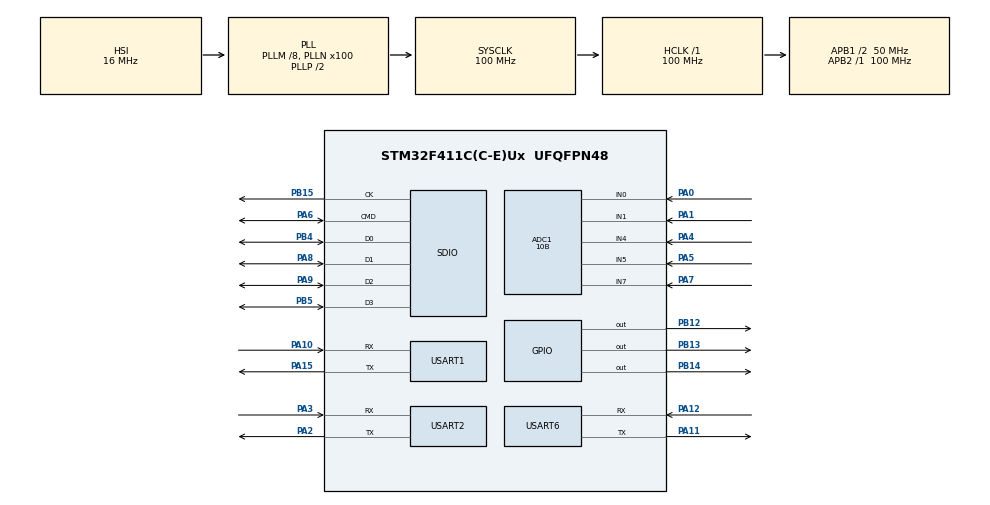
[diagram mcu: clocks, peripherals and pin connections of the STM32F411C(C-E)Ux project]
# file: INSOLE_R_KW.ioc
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ADC1.Channel-10\#ChannelRegularConversion=ADC_CHANNEL_1
ADC1.Channel-12\#ChannelRegularConversion=ADC_CHANNEL_4
ADC1.Channel-13\#ChannelRegularConversion=ADC_CHANNEL_5
ADC1.Channel-14\#ChannelRegularConversion=ADC_CHANNEL_7
ADC1.Channel-5\#ChannelRegularConversion=ADC_CHANNEL_0
ADC1.ContinuousConvMode=ENABLE
ADC1.DMAContinuousRequests=ENABLE
ADC1.InjNumberOfConversion=0
ADC1.NbrOfConversion=5
ADC1.NbrOfConversionFlag=1
ADC1.Rank-10\#ChannelRegularConversion=2
ADC1.Rank-12\#ChannelRegularConversion=3
ADC1.Rank-13\#ChannelRegularConversion=4
ADC1.Rank-14\#ChannelRegularConversion=5
ADC1.Rank-5\#ChannelRegularConversion=1
ADC1.Resolution=ADC_RESOLUTION_10B
ADC1.SamplingTime-10\#ChannelRegularConversion=ADC_SAMPLETIME_112CYCLES
ADC1.SamplingTime-12\#ChannelRegularConversion=ADC_SAMPLETIME_112CYCLES
ADC1.SamplingTime-13\#ChannelRegularConversion=ADC_SAMPLETIME_112CYCLES
ADC1.SamplingTime-14\#ChannelRegularConversion=ADC_SAMPLETIME_112CYCLES
ADC1.SamplingTime-5\#ChannelRegularConversion=ADC_SAMPLETIME_112CYCLES
ADC1.master=1
Dma.ADC1.0.Direction=DMA_PERIPH_TO_MEMORY
Dma.ADC1.0.FIFOMode=DMA_FIFOMODE_DISABLE
Dma.ADC1.0.Instance=DMA2_Stream0
Dma.ADC1.0.MemDataAlignment=DMA_MDATAALIGN_HALFWORD
Dma.ADC1.0.MemInc=DMA_MINC_ENABLE
Dma.ADC1.0.Mode=DMA_CIRCULAR
Dma.ADC1.0.PeriphDataAlignment=DMA_PDATAALIGN_HALFWORD
Dma.ADC1.0.PeriphInc=DMA_PINC_DISABLE
Dma.ADC1.0.Priority=DMA_PRIORITY_LOW
Dma.Request0=ADC1
Dma.Request1=SDIO_RX
Dma.Request2=SDIO_TX
Dma.Request3=USART2_RX
Dma.Request4=USART1_TX
Dma.SDIO_RX.1.Direction=DMA_PERIPH_TO_MEMORY
Dma.SDIO_RX.1.FIFOMode=DMA_FIFOMODE_ENABLE
Dma.SDIO_RX.1.FIFOThreshold=DMA_FIFO_THRESHOLD_FULL
Dma.SDIO_RX.1.Instance=DMA2_Stream3
Dma.SDIO_RX.1.MemBurst=DMA_MBURST_INC4
Dma.SDIO_RX.1.MemDataAlignment=DMA_MDATAALIGN_WORD
Dma.SDIO_RX.1.MemInc=DMA_MINC_ENABLE
Dma.SDIO_RX.1.Mode=DMA_PFCTRL
Dma.SDIO_RX.1.PeriphBurst=DMA_PBURST_INC4
Dma.SDIO_RX.1.PeriphDataAlignment=DMA_PDATAALIGN_WORD
Dma.SDIO_RX.1.PeriphInc=DMA_PINC_DISABLE
Dma.SDIO_RX.1.Priority=DMA_PRIORITY_LOW
Dma.SDIO_TX.2.Direction=DMA_MEMORY_TO_PERIPH
Dma.SDIO_TX.2.FIFOMode=DMA_FIFOMODE_ENABLE
Dma.SDIO_TX.2.FIFOThreshold=DMA_FIFO_THRESHOLD_FULL
Dma.SDIO_TX.2.Instance=DMA2_Stream6
Dma.SDIO_TX.2.MemBurst=DMA_MBURST_INC4
Dma.SDIO_TX.2.MemDataAlignment=DMA_MDATAALIGN_WORD
Dma.SDIO_TX.2.MemInc=DMA_MINC_ENABLE
Dma.SDIO_TX.2.Mode=DMA_PFCTRL
Dma.SDIO_TX.2.PeriphBurst=DMA_PBURST_INC4
Dma.SDIO_TX.2.PeriphDataAlignment=DMA_PDATAALIGN_WORD
Dma.SDIO_TX.2.PeriphInc=DMA_PINC_DISABLE
Dma.SDIO_TX.2.Priority=DMA_PRIORITY_LOW
Dma.USART1_TX.4.Direction=DMA_MEMORY_TO_PERIPH
Dma.USART1_TX.4.FIFOMode=DMA_FIFOMODE_DISABLE
Dma.USART1_TX.4.Instance=DMA2_Stream7
Dma.USART1_TX.4.MemDataAlignment=DMA_MDATAALIGN_BYTE
Dma.USART1_TX.4.MemInc=DMA_MINC_ENABLE
Dma.USART1_TX.4.Mode=DMA_CIRCULAR
Dma.USART1_TX.4.PeriphDataAlignment=DMA_PDATAALIGN_BYTE
Dma.USART1_TX.4.PeriphInc=DMA_PINC_DISABLE
Dma.USART1_TX.4.Priority=DMA_PRIORITY_LOW
Dma.USART2_RX.3.Direction=DMA_PERIPH_TO_MEMORY
Dma.USART2_RX.3.FIFOMode=DMA_FIFOMODE_DISABLE
Dma.USART2_RX.3.Instance=DMA1_Stream5
Dma.USART2_RX.3.MemDataAlignment=DMA_MDATAALIGN_BYTE
Dma.USART2_RX.3.MemInc=DMA_MINC_ENABLE
Dma.USART2_RX.3.Mode=DMA_CIRCULAR
Dma.USART2_RX.3.PeriphDataAlignment=DMA_PDATAALIGN_BYTE
Dma.USART2_RX.3.PeriphInc=DMA_PINC_DISABLE
Dma.USART2_RX.3.Priority=DMA_PRIORITY_LOW
FATFS._MAX_SS=4096
FREERTOS.Tasks01=defaultTask,0,128,StartDefaultTask,Default,NULL
FREERTOS.configTICK_RATE_HZ=1000
Mcu.Family=STM32F4
Mcu.Name=STM32F411C(C-E)Ux
Mcu.Package=UFQFPN48
NVIC.DMA1_Stream5_IRQn=true\:5\:0\:false\:false\:true\:true\:false\:true
NVIC.DMA2_Stream0_IRQn=true\:5\:0\:false\:false\:true\:true\:false\:true
NVIC.DMA2_Stream3_IRQn=true\:5\:0\:false\:false\:true\:true\:false\:true
NVIC.DMA2_Stream6_IRQn=true\:5\:0\:false\:false\:true\:true\:false\:true
NVIC.DMA2_Stream7_IRQn=true\:5\:0\:false\:false\:true\:true\:false\:true
NVIC.PriorityGroup=NVIC_PRIORITYGROUP_4
NVIC.SDIO_IRQn=true\:5\:0\:false\:false\:true\:true\:true\:true
NVIC.TIM4_IRQn=true\:5\:0\:false\:false\:true\:true\:true\:true
NVIC.TIM5_IRQn=true\:0\:0\:false\:false\:true\:false\:false\:true
NVIC.TimeBase=TIM5_IRQn
NVIC.TimeBaseIP=TIM5
NVIC.USART1_IRQn=true\:5\:0\:false\:false\:true\:true\:true\:true
PA0-WKUP.Signal=ADCx_IN0
PA1.Signal=ADCx_IN1
PA10.Mode=Asynchronous
PA10.Signal=USART1_RX
PA11.Mode=Asynchronous
PA11.Signal=USART6_TX
PA12.Mode=Asynchronous
PA12.Signal=USART6_RX
PA15.Mode=Asynchronous
PA15.Signal=USART1_TX
PA2.Mode=Asynchronous
PA2.Signal=USART2_TX
PA3.Mode=Asynchronous
PA3.Signal=USART2_RX
PA4.Signal=ADCx_IN4
PA5.Signal=ADCx_IN5
PA6.GPIO_PuPd=GPIO_PULLUP
PA6.Mode=SD_4_bits_Wide_bus
PA6.Signal=SDIO_CMD
PA7.Signal=ADCx_IN7
PA8.GPIO_PuPd=GPIO_PULLUP
PA8.Mode=SD_4_bits_Wide_bus
PA8.Signal=SDIO_D1
PA9.GPIO_PuPd=GPIO_PULLUP
PA9.Mode=SD_4_bits_Wide_bus
PA9.Signal=SDIO_D2
PB12.Signal=GPIO_Output
PB13.Signal=GPIO_Output
PB14.Signal=GPIO_Output
PB15.Mode=SD_4_bits_Wide_bus
PB15.Signal=SDIO_CK
PB4.GPIO_PuPd=GPIO_PULLUP
PB4.Mode=SD_4_bits_Wide_bus
PB4.Signal=SDIO_D0
PB5.GPIO_PuPd=GPIO_PULLUP
PB5.Mode=SD_4_bits_Wide_bus
PB5.Signal=SDIO_D3
ProjectManager.HeapSize=0x200
ProjectManager.StackSize=0x400
ProjectManager.TargetToolchain=MDK-ARM V5
RCC.48MHZClocksFreq_Value=40000000
RCC.AHBFreq_Value=100000000
RCC.APB1CLKDivider=RCC_HCLK_DIV2
RCC.APB1Freq_Value=50000000
RCC.APB1TimFreq_Value=100000000
RCC.APB2Freq_Value=100000000
RCC.APB2TimFreq_Value=100000000
RCC.CortexFreq_Value=100000000
RCC.HCLKFreq_Value=100000000
RCC.HSE_VALUE=8000000
RCC.HSI_VALUE=16000000
RCC.LSE_VALUE=32768
RCC.PLLM=8
RCC.PLLN=100
RCC.PLLQ=5
RCC.SYSCLKFreq_VALUE=100000000
RCC.SYSCLKSource=RCC_SYSCLKSOURCE_PLLCLK
RCC.VCOOutputFreq_Value=200000000
SDIO.ClockDiv=3
SH.ADCx_IN0.0=ADC1_IN0,IN0
SH.ADCx_IN1.0=ADC1_IN1,IN1
SH.ADCx_IN4.0=ADC1_IN4,IN4
SH.ADCx_IN5.0=ADC1_IN5,IN5
SH.ADCx_IN7.0=ADC1_IN7,IN7
TIM4.Period=100-1
TIM4.Prescaler=1000-1
TIM4.TIM_MasterOutputTrigger=TIM_TRGO_UPDATE
USART1.VirtualMode=VM_ASYNC
USART2.VirtualMode=VM_ASYNC
USART6.VirtualMode=VM_ASYNC
VP_CRC_VS_CRC.Mode=CRC_Activate
VP_FATFS_VS_SDIO.Mode=SDIO
VP_FREERTOS_VS_CMSIS_V1.Mode=CMSIS_V1
VP_SYS_VS_tim5.Mode=TIM5
VP_TIM4_VS_ClockSourceINT.Mode=Internal
board=custom

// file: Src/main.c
/* USER CODE BEGIN Header */
/*Definition in INSOLE_R_KR
DATASET :
INSOLE_L : 10BYTE(FSR) + 4BYTE(ST/ED) + 2BYTE(CRC) = 16BYTE
INSOLE_R : 20BYTE(FSR) + 4BYTE(ST/ED) + 2BYTE(CRC)= 26BYTE
IMU 		 : 20BYTE(FSR) + 18BYTE(IMU) + 4BYTE(ST/ED) + 2BYTE(CRC) = 44BYTE

*/

/**
  ******************************************************************************
  * @file           : main.c
  * @brief          : Main program body
  ******************************************************************************
  * @attention
  *
  * <h2><center>&copy; Copyright (c) 2020 STMicroelectronics.
  * All rights reserved.</center></h2>
  *
  * This software component is licensed by ST under Ultimate Liberty license
  * SLA0044, the "License"; You may not use this file except in compliance with
  * the License. You may obtain a copy of the License at:
  *                             www.st.com/SLA0044
  *
  ******************************************************************************
  */
/* USER CODE END Header */

#include "main.h"
#include "cmsis_os.h"
#include "fatfs.h"

/* USER CODE BEGIN Includes */
#include <stdio.h>
#include <string.h>
#include <stdbool.h>
/* USER CODE END Includes */

ADC_HandleTypeDef hadc1;
DMA_HandleTypeDef hdma_adc1;

CRC_HandleTypeDef hcrc;

SD_HandleTypeDef hsd;
DMA_HandleTypeDef hdma_sdio_rx;
DMA_HandleTypeDef hdma_sdio_tx;

TIM_HandleTypeDef htim4;

UART_HandleTypeDef huart1;
UART_HandleTypeDef huart2;
UART_HandleTypeDef huart6;
DMA_HandleTypeDef hdma_usart1_tx;
DMA_HandleTypeDef hdma_usart2_rx;

osThreadId defaultTaskHandle;

void SystemClock_Config(void);
static void MX_GPIO_Init(void);
static void MX_DMA_Init(void);
static void MX_ADC1_Init(void);
static void MX_USART1_UART_Init(void);
static void MX_USART2_UART_Init(void);
static void MX_CRC_Init(void);
static void MX_SDIO_SD_Init(void);
static void MX_TIM4_Init(void);
static void MX_USART6_UART_Init(void);
void StartDefaultTask(void const * argument);

/* USER CODE BEGIN 0 */
	//dma circular buffer
	DMA_Event_t dma_uart_rx = {0,0,DMA_BUF_SIZE};
	uint8_t dma_rx_buf[DMA_BUF_SIZE];       /* Circular buffer for DMA */
	uint8_t data[DMA_BUF_SIZE] = {'\0'};    /* Data buffer that contains newly received data */

	//Communication buffers
	uint8_t txdata[26]; // 4 from FFFF,FFFE 18 from Imu, 10 byte from insole 2byte crc : 34 byte
	uint8_t rxBuf[16] = {0};

	uint8_t rxBuf2[24] = {0};

	uint8_t rxBuf_[24] = {0};
	uint8_t rxBuf_crc[24] = {0};
	uint8_t cp_rxBuf_[24] = {0,};	\

	bool useBuff = false;
	bool useBuff_mx = true;

	uint8_t buff_index = 0;
	uint8_t rxBuf_transmit[24] = {0};
	uint16_t adcValArray[5] = {0,};
	//crcval
	uint32_t crcArray[8] = {0,};
	uint32_t crcArray_send[9] = {0,};

	uint16_t crcval = 0;

	//test
	uint16_t cal_val = 0;
	uint16_t receive_val =0;

	//buff calcualtion
	//uint8_t rxBuf_crc[24] = {0};
	bool crc_test = true;
	bool crc_test2 = false;

	bool rxBuf_trans = true;

	//SD card variables
	extern char SDPath[4];   /* SD logical drive path */
	extern FATFS SDFatFS;    /* File system object for SD logical drive */
	extern FIL SDFile;       /* File object for SD */

	//FILE I/O operation

	FRESULT res;                                          /* FatFs function common result code */
	uint32_t byteswritten, bytesread;                     /* File write/read counts */
	uint8_t wtext[] = "Hello from kyeum!"; 			      /* File write start buffer */
	uint8_t rtext[100];                                   /* File read buffer */

	FATFS myFATAS;
	FIL myFILE;
	UINT testByte; 										  // error detection
	bool datasave_flg = true;

	//Timer
	bool _10ms_flg = false;
	bool _100ms_flg = false;

	uint16_t ms_tmr = 0;
	uint16_t _100ms_tmr = 0;
	uint16_t ms_sv_tmr = 0;

	//wdg cnt
	uint8_t wdg_cnt = 0;

/* USER CODE END 0 */

int main(void)
{

  /* MCU Configuration--------------------------------------------------------*/

  /* Reset of all peripherals, Initializes the Flash interface and the Systick. */
  HAL_Init();

  /* Configure the system clock */
  SystemClock_Config();

  /* Initialize all configured peripherals */
  MX_GPIO_Init();
  MX_DMA_Init();
  MX_ADC1_Init();
  MX_USART1_UART_Init();
  MX_USART2_UART_Init();
  MX_CRC_Init();
  MX_SDIO_SD_Init();
  MX_TIM4_Init();
  MX_USART6_UART_Init();
  /* USER CODE BEGIN 2 */

  /* Start DMA */
//    if(HAL_UART_Receive_DMA(&huart2, (uint8_t*)dma_rx_buf, DMA_BUF_SIZE) != HAL_OK)
//    {
//        Error_Handler();
//    }

  HAL_ADC_Start_DMA(&hadc1,(uint32_t *)adcValArray, 5);
  HAL_TIM_Base_Start_IT(&htim4);
//  __HAL_DMA_DISABLE_IT(huart2.hdmarx, DMA_IT_HT);

/* USER CODE END 2 */

  /* Create the thread(s) */
  /* definition and creation of defaultTask */
  osThreadDef(defaultTask, StartDefaultTask, osPriorityNormal, 0, 128);
  defaultTaskHandle = osThreadCreate(osThread(defaultTask), NULL);

  /* Start scheduler */
  osKernelStart();

  /* We should never get here as control is now taken by the scheduler */

  /* Infinite loop */
  while (1)
  {

  }
}

void SystemClock_Config(void)
{
  RCC_OscInitTypeDef RCC_OscInitStruct = {0};
  RCC_ClkInitTypeDef RCC_ClkInitStruct = {0};

  /** Configure the main internal regulator output voltage
  */
  __HAL_RCC_PWR_CLK_ENABLE();
  __HAL_PWR_VOLTAGESCALING_CONFIG(PWR_REGULATOR_VOLTAGE_SCALE1);
  /** Initializes the CPU, AHB and APB busses clocks
  */
  RCC_OscInitStruct.OscillatorType = RCC_OSCILLATORTYPE_HSI;
  RCC_OscInitStruct.HSIState = RCC_HSI_ON;
  RCC_OscInitStruct.HSICalibrationValue = RCC_HSICALIBRATION_DEFAULT;
  RCC_OscInitStruct.PLL.PLLState = RCC_PLL_ON;
  RCC_OscInitStruct.PLL.PLLSource = RCC_PLLSOURCE_HSI;
  RCC_OscInitStruct.PLL.PLLM = 8;
  RCC_OscInitStruct.PLL.PLLN = 100;
  RCC_OscInitStruct.PLL.PLLP = RCC_PLLP_DIV2;
  RCC_OscInitStruct.PLL.PLLQ = 5;
  if (HAL_RCC_OscConfig(&RCC_OscInitStruct) != HAL_OK)
  {
    Error_Handler();
  }
  /** Initializes the CPU, AHB and APB busses clocks
  */
  RCC_ClkInitStruct.ClockType = RCC_CLOCKTYPE_HCLK|RCC_CLOCKTYPE_SYSCLK
                              |RCC_CLOCKTYPE_PCLK1|RCC_CLOCKTYPE_PCLK2;
  RCC_ClkInitStruct.SYSCLKSource = RCC_SYSCLKSOURCE_PLLCLK;
  RCC_ClkInitStruct.AHBCLKDivider = RCC_SYSCLK_DIV1;
  RCC_ClkInitStruct.APB1CLKDivider = RCC_HCLK_DIV2;
  RCC_ClkInitStruct.APB2CLKDivider = RCC_HCLK_DIV1;

  if (HAL_RCC_ClockConfig(&RCC_ClkInitStruct, FLASH_LATENCY_3) != HAL_OK)
  {
    Error_Handler();
  }
}

static void MX_ADC1_Init(void)
{

  ADC_ChannelConfTypeDef sConfig = {0};

  /** Configure the global features of the ADC (Clock, Resolution, Data Alignment and number of conversion)
  */
  hadc1.Instance = ADC1;
  hadc1.Init.ClockPrescaler = ADC_CLOCK_SYNC_PCLK_DIV4;
  hadc1.Init.Resolution = ADC_RESOLUTION_10B;
  hadc1.Init.ScanConvMode = ENABLE;
  hadc1.Init.ContinuousConvMode = ENABLE;
  hadc1.Init.DiscontinuousConvMode = DISABLE;
  hadc1.Init.ExternalTrigConvEdge = ADC_EXTERNALTRIGCONVEDGE_NONE;
  hadc1.Init.ExternalTrigConv = ADC_SOFTWARE_START;
  hadc1.Init.DataAlign = ADC_DATAALIGN_RIGHT;
  hadc1.Init.NbrOfConversion = 5;
  hadc1.Init.DMAContinuousRequests = ENABLE;
  hadc1.Init.EOCSelection = ADC_EOC_SINGLE_CONV;
  if (HAL_ADC_Init(&hadc1) != HAL_OK)
  {
    Error_Handler();
  }
  /** Configure for the selected ADC regular channel its corresponding rank in the sequencer and its sample time.
  */
  sConfig.Channel = ADC_CHANNEL_0;
  sConfig.Rank = 1;
  sConfig.SamplingTime = ADC_SAMPLETIME_112CYCLES;
  if (HAL_ADC_ConfigChannel(&hadc1, &sConfig) != HAL_OK)
  {
    Error_Handler();
  }
  /** Configure for the selected ADC regular channel its corresponding rank in the sequencer and its sample time.
  */
  sConfig.Channel = ADC_CHANNEL_1;
  sConfig.Rank = 2;
  if (HAL_ADC_ConfigChannel(&hadc1, &sConfig) != HAL_OK)
  {
    Error_Handler();
  }
  /** Configure for the selected ADC regular channel its corresponding rank in the sequencer and its sample time.
  */
  sConfig.Channel = ADC_CHANNEL_4;
  sConfig.Rank = 3;
  if (HAL_ADC_ConfigChannel(&hadc1, &sConfig) != HAL_OK)
  {
    Error_Handler();
  }
  /** Configure for the selected ADC regular channel its corresponding rank in the sequencer and its sample time.
  */
  sConfig.Channel = ADC_CHANNEL_5;
  sConfig.Rank = 4;
  if (HAL_ADC_ConfigChannel(&hadc1, &sConfig) != HAL_OK)
  {
    Error_Handler();
  }
  /** Configure for the selected ADC regular channel its corresponding rank in the sequencer and its sample time.
  */
  sConfig.Channel = ADC_CHANNEL_7;
  sConfig.Rank = 5;
  if (HAL_ADC_ConfigChannel(&hadc1, &sConfig) != HAL_OK)
  {
    Error_Handler();
  }

}

static void MX_CRC_Init(void)
{

  hcrc.Instance = CRC;
  if (HAL_CRC_Init(&hcrc) != HAL_OK)
  {
    Error_Handler();
  }

}

static void MX_SDIO_SD_Init(void)
{

  hsd.Instance = SDIO;
  hsd.Init.ClockEdge = SDIO_CLOCK_EDGE_RISING;
  hsd.Init.ClockBypass = SDIO_CLOCK_BYPASS_DISABLE;
  hsd.Init.ClockPowerSave = SDIO_CLOCK_POWER_SAVE_DISABLE;
  hsd.Init.BusWide = SDIO_BUS_WIDE_1B;
  hsd.Init.HardwareFlowControl = SDIO_HARDWARE_FLOW_CONTROL_DISABLE;
  hsd.Init.ClockDiv = 3;

}

static void MX_TIM4_Init(void)
{

  TIM_ClockConfigTypeDef sClockSourceConfig = {0};
  TIM_MasterConfigTypeDef sMasterConfig = {0};

  htim4.Instance = TIM4;
  htim4.Init.Prescaler = 1000-1;
  htim4.Init.CounterMode = TIM_COUNTERMODE_UP;
  htim4.Init.Period = 100-1;
  htim4.Init.ClockDivision = TIM_CLOCKDIVISION_DIV1;
  htim4.Init.AutoReloadPreload = TIM_AUTORELOAD_PRELOAD_DISABLE;
  if (HAL_TIM_Base_Init(&htim4) != HAL_OK)
  {
    Error_Handler();
  }
  sClockSourceConfig.ClockSource = TIM_CLOCKSOURCE_INTERNAL;
  if (HAL_TIM_ConfigClockSource(&htim4, &sClockSourceConfig) != HAL_OK)
  {
    Error_Handler();
  }
  sMasterConfig.MasterOutputTrigger = TIM_TRGO_UPDATE;
  sMasterConfig.MasterSlaveMode = TIM_MASTERSLAVEMODE_DISABLE;
  if (HAL_TIMEx_MasterConfigSynchronization(&htim4, &sMasterConfig) != HAL_OK)
  {
    Error_Handler();
  }

}

static void MX_USART1_UART_Init(void)
{

  huart1.Instance = USART1;
  huart1.Init.BaudRate = 115200;
  huart1.Init.WordLength = UART_WORDLENGTH_8B;
  huart1.Init.StopBits = UART_STOPBITS_1;
  huart1.Init.Parity = UART_PARITY_NONE;
  huart1.Init.Mode = UART_MODE_TX_RX;
  huart1.Init.HwFlowCtl = UART_HWCONTROL_NONE;
  huart1.Init.OverSampling = UART_OVERSAMPLING_16;
  if (HAL_UART_Init(&huart1) != HAL_OK)
  {
    Error_Handler();
  }

}

static void MX_USART2_UART_Init(void)
{

  huart2.Instance = USART2;
  huart2.Init.BaudRate = 115200;
  huart2.Init.WordLength = UART_WORDLENGTH_8B;
  huart2.Init.StopBits = UART_STOPBITS_1;
  huart2.Init.Parity = UART_PARITY_NONE;
  huart2.Init.Mode = UART_MODE_TX_RX;
  huart2.Init.HwFlowCtl = UART_HWCONTROL_NONE;
  huart2.Init.OverSampling = UART_OVERSAMPLING_16;
  if (HAL_UART_Init(&huart2) != HAL_OK)
  {
    Error_Handler();
  }

}

static void MX_USART6_UART_Init(void)
{

  huart6.Instance = USART6;
  huart6.Init.BaudRate = 115200;
  huart6.Init.WordLength = UART_WORDLENGTH_8B;
  huart6.Init.StopBits = UART_STOPBITS_1;
  huart6.Init.Parity = UART_PARITY_NONE;
  huart6.Init.Mode = UART_MODE_TX_RX;
  huart6.Init.HwFlowCtl = UART_HWCONTROL_NONE;
  huart6.Init.OverSampling = UART_OVERSAMPLING_16;
  if (HAL_UART_Init(&huart6) != HAL_OK)
  {
    Error_Handler();
  }

}

static void MX_DMA_Init(void)
{

  /* DMA controller clock enable */
  __HAL_RCC_DMA2_CLK_ENABLE();
  __HAL_RCC_DMA1_CLK_ENABLE();

  /* DMA interrupt init */
  /* DMA1_Stream5_IRQn interrupt configuration */
  HAL_NVIC_SetPriority(DMA1_Stream5_IRQn, 5, 0);
  HAL_NVIC_EnableIRQ(DMA1_Stream5_IRQn);
  /* DMA2_Stream0_IRQn interrupt configuration */
  HAL_NVIC_SetPriority(DMA2_Stream0_IRQn, 5, 0);
  HAL_NVIC_EnableIRQ(DMA2_Stream0_IRQn);
  /* DMA2_Stream3_IRQn interrupt configuration */
  HAL_NVIC_SetPriority(DMA2_Stream3_IRQn, 5, 0);
  HAL_NVIC_EnableIRQ(DMA2_Stream3_IRQn);
  /* DMA2_Stream6_IRQn interrupt configuration */
  HAL_NVIC_SetPriority(DMA2_Stream6_IRQn, 5, 0);
  HAL_NVIC_EnableIRQ(DMA2_Stream6_IRQn);
  /* DMA2_Stream7_IRQn interrupt configuration */
  HAL_NVIC_SetPriority(DMA2_Stream7_IRQn, 5, 0);
  HAL_NVIC_EnableIRQ(DMA2_Stream7_IRQn);

}

static void MX_GPIO_Init(void)
{
  GPIO_InitTypeDef GPIO_InitStruct = {0};

  /* GPIO Ports Clock Enable */
  __HAL_RCC_GPIOA_CLK_ENABLE();
  __HAL_RCC_GPIOB_CLK_ENABLE();

  /*Configure GPIO pin Output Level */
  HAL_GPIO_WritePin(GPIOB, GPIO_PIN_12|GPIO_PIN_13|GPIO_PIN_14, GPIO_PIN_RESET);

  /*Configure GPIO pins : PB12 PB13 PB14 */
  GPIO_InitStruct.Pin = GPIO_PIN_12|GPIO_PIN_13|GPIO_PIN_14;
  GPIO_InitStruct.Mode = GPIO_MODE_OUTPUT_PP;
  GPIO_InitStruct.Pull = GPIO_NOPULL;
  GPIO_InitStruct.Speed = GPIO_SPEED_FREQ_LOW;
  HAL_GPIO_Init(GPIOB, &GPIO_InitStruct);

}

/* USER CODE BEGIN 4 */
/** DMA Rx Complete AND DMA Rx Timeout function
 * Timeout event: generated after UART IDLE IT + DMA Timeout value
 * Scenarios:
 *  - Timeout event when previous event was DMA Rx Complete --> new data is from buffer beginning till (MAX-currentCNDTR)
 *  - Timeout event when previous event was Timeout event   --> buffer contains old data, new data is in the "middle": from (MAX-previousCNDTR) till (MAX-currentCNDTR)
 *  - DMA Rx Complete event when previous event was DMA Rx Complete --> entire buffer holds new data
 *  - DMA Rx Complete event when previous event was Timeout event   --> buffer entirely filled but contains old data, new data is from (MAX-previousCNDTR) till MAX
 * Remarks:
 *  - If there is no following data after DMA Rx Complete, the generated IDLE Timeout has to be ignored!
 *  - When buffer overflow occurs, the following has to be performed in order not to lose data:
 *      (1): DMA Rx Complete event occurs, process first part of new data till buffer MAX.
 *      (2): In this case, the currentCNDTR is already decreased because of overflow.
 *              However, previousCNDTR has to be set to MAX in order to signal for upcoming Timeout event that new data has to be processed from buffer beginning.
 *      (3): When many overflows occur, simply process DMA Rx Complete events (process entire DMA buffer) until Timeout event occurs.
 *      (4): When there is no more overflow, Timeout event occurs, process last part of data from buffer beginning till currentCNDTR.
*/

 void HAL_UART_RxCpltCallback(UART_HandleTypeDef *huart)
{
  /* Prevent unused argument(s) compilation warning */
  /* NOTE: This function should not be modified, when the callback is needed,
           the HAL_UART_RxCpltCallback could be implemented in the user file
   */
	//add ring buffer
	// data pacing and save buff to transmit array
	if(huart->Instance == USART2){
		/*
						for(int i = 0; i< 24; i++)
				{
					rxBuf[i] = rxBuf_crc[i];
				}
				memcpy(rxBuf2, rxBuf_crc,sizeof(uint8_t)*24);
				//memmove(rxBuf, rxBuf_crc,sizeof(uint8_t)*24);
				 // disconnect ->
				HAL_GPIO_TogglePin(GPIOB, GPIO_PIN_12);
				char buff_maxsize = sizeof(rxBuf) / sizeof(uint8_t);
				bool data_received = false;
				for(char i = buff_index; i<buff_maxsize; i++){

				char buff_end = (i+buff_maxsize-1)%buff_maxsize;
				char buff_index_2 = (i+1)%buff_maxsize;
				char buff_end_2 = (i+buff_maxsize-2)%buff_maxsize;

					if(rxBuf[i] == 0xFF && rxBuf[buff_index_2] == 0xFF&& rxBuf[buff_end_2] == 0xFF&& rxBuf[buff_end] == 0xFE){
					buff_index = i; // head
					//rxBuf  transmit
					useBuff = true;
					memset(rxBuf_,0,24*sizeof(rxBuf_[0]));
					for(int k = 0; k<buff_maxsize; k++){
					char c = (i + k)%buff_maxsize;
					rxBuf_[k] = rxBuf[c];
					}
					useBuff = false;
					data_received = true;
					break;
					}
			}
			if(!data_received) buff_index = 0;
					memset(rxBuf_crc,0, 24*sizeof(rxBuf_crc[0]));

		*/

	uint16_t i, pos, start, length;
	uint16_t currCNDTR = __HAL_DMA_GET_COUNTER(huart->hdmarx);

 /* Ignore IDLE Timeout when the received characters exactly filled up the DMA buffer and DMA Rx Complete IT is generated, but there is no new character during timeout */
    if(dma_uart_rx.flag && currCNDTR == DMA_BUF_SIZE)
    {
        dma_uart_rx.flag = 0;
        return;
    }
 /* Determine start position in DMA buffer based on previous CNDTR value */
	start = (dma_uart_rx.prevCNDTR < DMA_BUF_SIZE) ? (DMA_BUF_SIZE - dma_uart_rx.prevCNDTR) : 0;

	 if(dma_uart_rx.flag)    /* Timeout event */
    {
        /* Determine new data length based on previous DMA_CNDTR value:
         *  If previous CNDTR is less than DMA buffer size: there is old data in DMA buffer (from previous timeout) that has to be ignored.
         *  If CNDTR == DMA buffer size: entire buffer content is new and has to be processed.
        */
        length = (dma_uart_rx.prevCNDTR < DMA_BUF_SIZE) ? (dma_uart_rx.prevCNDTR - currCNDTR) : (DMA_BUF_SIZE - currCNDTR);
        dma_uart_rx.prevCNDTR = currCNDTR;
        dma_uart_rx.flag = 0;
    }
    else                /* DMA Rx Complete event */
    {
        length = DMA_BUF_SIZE - start;
        dma_uart_rx.prevCNDTR = DMA_BUF_SIZE;
    }
	 /* Copy and Process new data */
//	useBuff = false;
    for(i=0,pos=start; i<length; ++i,++pos)
    {
        rxBuf[i] = dma_rx_buf[pos];
    }
//	useBuff = true;

	}
}

void HAL_UART_TxCpltCallback(UART_HandleTypeDef *huart)
{
  /* Prevent unused argument(s) compilation warning */
	if(huart->Instance == USART2){

	//HAL_GPIO_TogglePin(GPIOB,GPIO_PIN_14); // 200ms Orange BLINKING

	}
	/* NOTE: This function should not be modified, when the callback is needed,
           the HAL_UART_TxCpltCallback could be implemented in the user file
	*/
}

void wdg_activate(){
	HAL_NVIC_SystemReset();
}
/* USER CODE END 4 */

void StartDefaultTask(void const * argument)
{

  /* init code for FATFS */
  MX_FATFS_Init();

  /* USER CODE BEGIN 5 */
	f_mount(&SDFatFS, (TCHAR const*)SDPath, 1);

	char testname[20];
	char filetxt[5] = ".txt"; // directory
	f_mkdir(testname);
	//strcat(testnum,filetxt);

	if(f_open(&SDFile, "test.txt", FA_CREATE_ALWAYS | FA_WRITE )== FR_OK){
		HAL_GPIO_TogglePin(GPIOB,GPIO_PIN_12);
		osDelay(500);
		HAL_GPIO_TogglePin(GPIOB,GPIO_PIN_12);
	}
	else{
		HAL_GPIO_TogglePin(GPIOB,GPIO_PIN_12);
		osDelay(2000);
		HAL_GPIO_TogglePin(GPIOB,GPIO_PIN_12);
		}

  /* Infinite loop */
  for(;;)
  {
	 // if(wdg_cnt > 30) wdg_activate();
		memset(txdata,0,26 * sizeof(txdata[0])); // txbuffer clear // local vari later!

		txdata[0] = 0xFF;
		txdata[1] = 0xFF;
		for(int i =0; i<5; i++){ // right / left -- insole + Imu dataset :
		char a = i*2;
		txdata[2+a] = adcValArray[i] >> 8;  //hi
		txdata[3+a] = adcValArray[i] & 0xFF;//lo
		}

		for(int i = 12; i< 21; i++){
			txdata[i] = i;
		}

		/*		char buff_maxsize = sizeof(cp_rxBuf_) / sizeof(uint8_t);
				bool data_received = false;
				for(char i = 0; i<buff_maxsize; i++){

				char buff_end = (i+buff_maxsize-1)%buff_maxsize;
				char buff_index_2 = (i+1)%buff_maxsize;
				char buff_end_2 = (i+buff_maxsize-2)%buff_maxsize;

					if(cp_rxBuf_[i] == 0xFF && cp_rxBuf_[buff_index_2] == 0xFF&& cp_rxBuf_[buff_end_2] == 0xFF&& cp_rxBuf_[buff_end] == 0xFE){
					//buff_index = i; // head
					//rxBuf  transmit
					memset(rxBuf_,0,24*sizeof(rxBuf_[0]));
					for(int k = 0; k<buff_maxsize; k++){
					char c = (i + k)%buff_maxsize;
					rxBuf_[k] = cp_rxBuf_[c];
					}
					break;
					}
				}
		memset(crcArray,0,8*sizeof(crcArray[0]));
		memcpy(&crcArray[0],&rxBuf_[2], sizeof(uint8_t)*18);

		char crc_begin = 20; //MLSB
		char crc_end = 21;   //LLSB
	  receive_val = (int16_t)(((int16_t)rxBuf_[crc_begin] << 8) | rxBuf_[crc_end]);
		cal_val = (HAL_CRC_Calculate(&hcrc,crcArray,5)&0xffff);
	    if(cal_val == receive_val)
		{
			memmove(&txdata[12], &rxBuf_[2], sizeof(uint8_t)*18);
		}
		else
		{
			wdg_cnt ++;
			continue;
		}
		*/

		memset(crcArray_send,0,8*sizeof(crcArray_send[0]));
		memcpy(&crcArray_send[0], &txdata[2] , 20);
		crcval = HAL_CRC_Calculate(&hcrc,crcArray_send,5)& 0xffff;
		txdata[22] = crcval >> 8;
		txdata[23] = crcval & 0xff;
		txdata[24] = 0xFF;
		txdata[25] = 0xFE;

//	DATA SAVE TO LEFT LEG
/*
			if(datasave_flg){
			for(int i =0; i<24; i++) {
			f_printf(&SDFile, "%02x", cp_rxBuf_[i]);
			}
			f_printf(&SDFile, "\n");
			for(int i =0; i<24; i++) {
			f_printf(&SDFile, "%02x", rxBuf_[i]);
			}
			f_printf(&SDFile, "\n");

			for(int i =0; i<24; i++) {
			f_printf(&SDFile, "%02x", rxBuf[i]);
			}
			f_printf(&SDFile, "\n");
			}
			else
			{
			f_close(&SDFile);
			}
*/
		HAL_GPIO_TogglePin(GPIOB,GPIO_PIN_13);

//	TRANSMIT DATA TO LEFT LEG
		if(_100ms_flg){

			_10ms_flg = false;
			HAL_UART_Transmit_IT(&huart1,txdata,26); // 4byte + 18 + 10 byte(insole right)+ CRC 2 : 34 byte
		HAL_GPIO_TogglePin(GPIOB,GPIO_PIN_13);
		}
	}
  /* USER CODE END 5 */
}

void HAL_TIM_PeriodElapsedCallback(TIM_HandleTypeDef *htim)
{
  if (htim->Instance == TIM5) {
    HAL_IncTick();
  }
  /* USER CODE BEGIN Callback 1 */
 	if(htim ->Instance  == TIM4){
		ms_tmr ++;
		_100ms_tmr++;
		ms_sv_tmr++;

		if(ms_tmr % 10 == 0){
			//_100ms_flg = true;
			_10ms_flg = true;
			ms_tmr = 0;
		}
		if(_100ms_tmr % 100 == 0){
			_100ms_tmr = 0;
			_100ms_flg = true;
			if(!datasave_flg) HAL_GPIO_TogglePin(GPIOB,GPIO_PIN_14); // 200ms Orange BLINKING
		}

		if(ms_sv_tmr % 20000 == 0){ // 10sec later - date
			datasave_flg = false;
			ms_sv_tmr = 0;
		}

	// save data 10sec
	}
  /* USER CODE END Callback 1 */
}

void Error_Handler(void)
{
}

/************************ (C) COPYRIGHT STMicroelectronics *****END OF FILE****/
